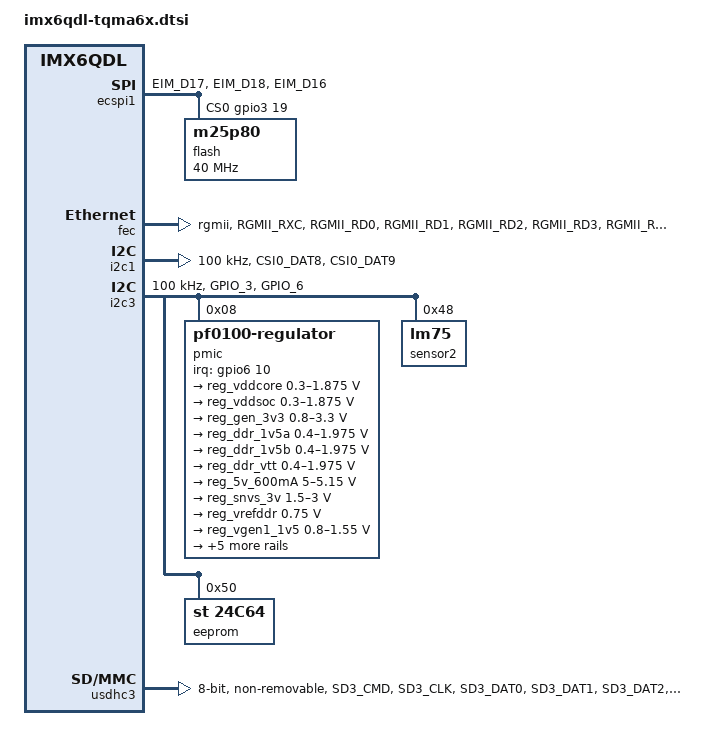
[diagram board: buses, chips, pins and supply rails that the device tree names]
/*
 * Copyright 2013 Sascha Hauer, Pengutronix
 *
 * The code contained herein is licensed under the GNU General Public
 * License. You may obtain a copy of the GNU General Public License
 * Version 2 or later at the following locations:
 *
 * http://www.opensource.org/licenses/gpl-license.html
 * http://www.gnu.org/copyleft/gpl.html
 */

&ecspi1 {
	pinctrl-names = "default";
	pinctrl-0 = <&pinctrl_ecspi1>;
	fsl,spi-num-chipselects = <1>;
	cs-gpios = <&gpio3 19 0>;
	status = "okay";

	flash: m25p80@0 {
		compatible = "m25p80";
		spi-max-frequency = <40000000>;
		reg = <0>;
	};
};

&fec {
	pinctrl-names = "default";
	pinctrl-0 = <&pinctrl_enet>;
	phy-mode = "rgmii";
};

&iomuxc {
	imx6qdl-tqma6x {
		pinctrl_ecspi1: ecspi1grp {
			fsl,pins = <
				MX6QDL_PAD_EIM_D17__ECSPI1_MISO	0x100b1
				MX6QDL_PAD_EIM_D18__ECSPI1_MOSI	0x100b1
				MX6QDL_PAD_EIM_D16__ECSPI1_SCLK	0x100b1
			>;
		};

		pinctrl_enet: enetgrp {
			fsl,pins = <
				MX6QDL_PAD_RGMII_RXC__RGMII_RXC		0x100b1
				MX6QDL_PAD_RGMII_RD0__RGMII_RD0		0x100b1
				MX6QDL_PAD_RGMII_RD1__RGMII_RD1		0x100b1
				MX6QDL_PAD_RGMII_RD2__RGMII_RD2		0x100b1
				MX6QDL_PAD_RGMII_RD3__RGMII_RD3		0x100b1
				MX6QDL_PAD_RGMII_RX_CTL__RGMII_RX_CTL	0x100b1
				MX6QDL_PAD_RGMII_TXC__RGMII_TXC		0x100b1
				MX6QDL_PAD_RGMII_TD0__RGMII_TD0		0x100b1
				MX6QDL_PAD_RGMII_TD1__RGMII_TD1		0x100b1
				MX6QDL_PAD_RGMII_TD2__RGMII_TD2		0x100b1
				MX6QDL_PAD_RGMII_TD3__RGMII_TD3		0x100b1
				MX6QDL_PAD_RGMII_TX_CTL__RGMII_TX_CTL	0x100b1
				MX6QDL_PAD_ENET_REF_CLK__ENET_TX_CLK	0x100b1
				MX6QDL_PAD_ENET_MDIO__ENET_MDIO		0x1b0b0
				MX6QDL_PAD_ENET_MDC__ENET_MDC		0x1b0b0
				MX6QDL_PAD_GPIO_16__ENET_REF_CLK	0x4001b0a8
			>;
		};

		pinctrl_i2c1: i2c1grp {
			fsl,pins = <
				MX6QDL_PAD_CSI0_DAT8__I2C1_SDA		0x4001b8b1
				MX6QDL_PAD_CSI0_DAT9__I2C1_SCL		0x4001b8b1
			>;
		};

		pinctrl_i2c3: i2c3grp {
			fsl,pins = <
				MX6QDL_PAD_GPIO_3__I2C3_SCL		0x4001b8b1
				MX6QDL_PAD_GPIO_6__I2C3_SDA		0x4001b8b1
			>;
		};

		pinctrl_usdhc3: usdhc3grp {
			fsl,pins = <
				MX6QDL_PAD_SD3_CMD__SD3_CMD		0x17059
				MX6QDL_PAD_SD3_CLK__SD3_CLK		0x10059
				MX6QDL_PAD_SD3_DAT0__SD3_DATA0		0x17059
				MX6QDL_PAD_SD3_DAT1__SD3_DATA1		0x17059
				MX6QDL_PAD_SD3_DAT2__SD3_DATA2		0x17059
				MX6QDL_PAD_SD3_DAT3__SD3_DATA3		0x17059
				MX6QDL_PAD_SD3_DAT4__SD3_DATA4		0x17059
				MX6QDL_PAD_SD3_DAT5__SD3_DATA5		0x17059
				MX6QDL_PAD_SD3_DAT6__SD3_DATA6		0x17059
				MX6QDL_PAD_SD3_DAT7__SD3_DATA7		0x17059
			>;
		};
	};
};

&ocotp {
	barebox,provide-mac-address = <&fec 0x620>;
};

&i2c1 {
	status = "okay";
	clock-frequency = <100000>;
	pinctrl-names = "default";
	pinctrl-0 = <&pinctrl_i2c1>;
};

&i2c3 {
	status = "okay";
	clock-frequency = <100000>;
	pinctrl-names = "default";
	pinctrl-0 = <&pinctrl_i2c3>;

	pmic: pf0100@08 {
		compatible = "pf0100-regulator";
		reg = <0x08>;
		interrupt-parent = <&gpio6>;
		interrupts = <10 8>;

		regulators {
			reg_vddcore: sw1ab {
				regulator-min-microvolt = <300000>;
				regulator-max-microvolt = <1875000>;
				regulator-always-on;
			};

			reg_vddsoc: sw1c {
				regulator-min-microvolt = <300000>;
				regulator-max-microvolt = <1875000>;
				regulator-always-on;
			};

			reg_gen_3v3: sw2 {
				regulator-min-microvolt = <800000>;
				regulator-max-microvolt = <3300000>;
				regulator-always-on;
			};

			reg_ddr_1v5a: sw3a {
				regulator-min-microvolt = <400000>;
				regulator-max-microvolt = <1975000>;
				regulator-always-on;
			};

			reg_ddr_1v5b: sw3b {
				regulator-min-microvolt = <400000>;
				regulator-max-microvolt = <1975000>;
				regulator-always-on;
			};

			reg_ddr_vtt: sw4 {
				regulator-min-microvolt = <400000>;
				regulator-max-microvolt = <1975000>;
				regulator-always-on;
			};

			reg_5v_600mA: swbst {
				regulator-min-microvolt = <5000000>;
				regulator-max-microvolt = <5150000>;
				regulator-always-on;
			};

			reg_snvs_3v: vsnvs {
				regulator-min-microvolt = <1500000>;
				regulator-max-microvolt = <3000000>;
				regulator-always-on;
			};

			reg_vrefddr: vrefddr {
				regulator-min-microvolt = <750000>;
				regulator-max-microvolt = <750000>;
				regulator-always-on;
			};

			reg_vgen1_1v5: vgen1 {
				regulator-min-microvolt = <800000>;
				regulator-max-microvolt = <1550000>;
				/* not used */
			};

			reg_vgen2_1v2_eth: vgen2 {
				regulator-min-microvolt = <800000>;
				regulator-max-microvolt = <1550000>;
				regulator-always-on;
			};

			reg_vgen3_2v8: vgen3 {
				regulator-min-microvolt = <1800000>;
				regulator-max-microvolt = <3300000>;
				regulator-always-on;
			};

			reg_vgen4_1v8: vgen4 {
				regulator-min-microvolt = <1800000>;
				regulator-max-microvolt = <3300000>;
				regulator-always-on;
			};

			reg_vgen5_1v8_eth: vgen5 {
				regulator-min-microvolt = <1800000>;
				regulator-max-microvolt = <3300000>;
				regulator-always-on;
			};

			reg_vgen6_3v3: vgen6 {
				regulator-min-microvolt = <1800000>;
				regulator-max-microvolt = <3300000>;
				regulator-always-on;
			};
		};
	};

	sensor2: lm75@48 {
		compatible = "lm75";
		reg = <0x48>;
	};

	eeprom: m24c64@50 {
		compatible = "st,24c64", "at24";
		reg = <0x50>;
	};
};

&usdhc3 { /* eMMC */
	pinctrl-names = "default";
	pinctrl-0 = <&pinctrl_usdhc3>;
	non-removable;
	bus-width = <8>;
	status = "okay";
};
